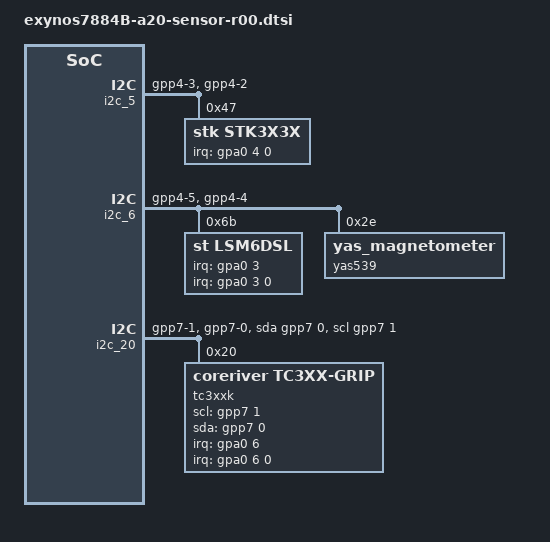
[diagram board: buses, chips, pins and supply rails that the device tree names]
/*
 * SAMSUNG UNIVERSAL7904 board device tree source
 *
 * Copyright (c) 2013 Samsung Electronics Co., Ltd.
 *		http://www.samsung.com
 *
 * This program is free software; you can redistribute it and/or modify
 * it under the terms of the GNU General Public License version 2 as
 * published by the Free Software Foundation.
*/

&pinctrl_0 { //11CB0000
	
	acc_int: acc-int {
		samsung,pins = "gpa0-3";
		samsung,pin-function = <0xf>;
		samsung,pin-pud = <0>;
		samsung,pin-drv = <0>;
	};
	
	grip_int: grip-int {
		samsung,pins = "gpa0-6";
		samsung,pin-function = <0xf>;
		samsung,pin-pud = <0>;
		samsung,pin-drv = <0>;
	};
	
	grip_input: grip-input {
		samsung,pins = "gpa0-6";
		samsung,pin-function = <0>;
		samsung,pin-pud = <0>;
		samsung,pin-drv = <0>;
	};
	
	proxy_int: proxy-int {
		samsung,pins = "gpa0-4";
		samsung,pin-function = <0xf>;
		samsung,pin-pud = <0>;
		samsung,pin-drv = <0>;
	};

};


&pinctrl_3 { //139B0000

	grip_i2c: grip-2c {
		samsung,pins = "gpp7-1", "gpp7-0";
		samsung,pin-function = <2>;
		samsung,pin-pud = <0>;
		samsung,pin-drv = <0>;
	};
	
	grip_gpio: grip-gpio {
		samsung,pins = "gpp7-1", "gpp7-0";
		samsung,pin-function = <0>;
		samsung,pin-pud = <0>;
		samsung,pin-drv = <0>;
	};
	
	grip_ldo: grip-ldo {
		samsung,pins = "gpg1-3";
		samsung,pin-function = <1>;
		samsung,pin-pud = <0>;
		samsung,pin-drv = <0>;
	};

	i2c5_bus: i2c5-bus {
		samsung,pins = "gpp4-3", "gpp4-2";
		samsung,pin-function = <2>;
		samsung,pin-pud = <0>;
		samsung,pin-drv = <0>;
	};

	i2c6_bus: i2c6-bus {
		samsung,pins = "gpp4-5", "gpp4-4";
		samsung,pin-function = <2>;
		samsung,pin-pud = <0>;
		samsung,pin-drv = <0>;
	};
};


 &i2c_5 {
		status = "okay";
		#address-cells = <1>;
		#size-cells = <0>;
		samsung,i2c-sda-delay = <100>;
		samsung,i2c-max-bus-freq = <400000>;
		pinctrl-names = "default";
		pinctrl-0 = <&i2c5_bus>;

		stk@47 {
			compatible = "stk,stk3x3x";
			reg = <0x47>;
			pinctrl-names = "default";
			pinctrl-0 = <&proxy_int>;
			interrupt-parent = <&gpa0>;
			interrupts = <4 0 0>;
			stk,gpio_int = <&gpa0 4 0>;
			stk,prox_thd_h = <240>;
			stk,prox_thd_l = <220>;
			stk,sunlight_thd_h = <240>;
			stk,sunlight_thd_l = <220>;
			stk,first_cal_adc_limit = <200>;
			stk,first_cal_thd_h = <240>;
			stk,first_cal_thd_l = <220>;
			stk,intel_prst = <0>;
			stk,ps_it = <0x04>;
		};
 };

 &i2c_6 {

		status = "okay";
		#address-cells = <1>;
		#size-cells = <0>;
		samsung,i2c-sda-delay = <100>;
		samsung,i2c-max-bus-freq = <400000>;
		pinctrl-names = "default";
		pinctrl-0 = <&i2c6_bus>;

		lsm6dsl@6b {
			compatible = "st,lsm6dsl";
			reg = <0x6b>;
			gpio-controller;
			#gpio-cells = <2>;
			pinctrl-names = "default";
			pinctrl-0 = <&acc_int>;
			interrupt-parent = <&gpa0>;
			interrupts = <3 0 0>;
			st,irq_gpio = <&gpa0 3 0>;
			st,orientation = <0 1 1 1 2 1 1 1 0>;
		};

		yas539@2e {
			compatible = "yas_magnetometer";
			reg = <0x2e>;
			yas,orientation = <2>;
			yas,softiron = <9730 490 100 490 9990 10 100 10 10290>;
			yas,softiron_sign = <2 2 2 2 2 2 2 2 2>;
		};
 };

 &i2c_20 {
		compatible = "i2c-gpio"; 
		gpios = <&gpp7 0 0 
				&gpp7 1 0>; 
		pinctrl-names = "default","on_i2c","off_i2c"; 
		pinctrl-0 = <&grip_i2c>; 
		pinctrl-1 = <&grip_i2c>; 
		pinctrl-2 = <&grip_gpio>; 

		tc3xxk@20 {
			compatible = "coreriver,tc3xx-grip";
			pinctrl-names = "default","on_irq","off_irq";
			pinctrl-0 = <&grip_int &grip_ldo>;
			pinctrl-1 = <&grip_int>; 
			pinctrl-2 = <&grip_input>; 
			reg = <0x20>;
			interrupt-parent = <&gpa0>;
			interrupts = <6 0 0>;
			coreriver,scl-gpio = <&gpp7 1 0>;
			coreriver,sda-gpio = <&gpp7 0 0>;
			coreriver,irq-gpio = <&gpa0 6 0>;
			coreriver,ldo_en = <&gpg1 3 0>;
			coreriver,i2c-gpio = "true";
			coreriver,boot-on-ldo = "true";
			coreriver,fw_name = "coreriver/tc305k_a20_grip.fw";     
			coreriver,use_bitmap = <1>;
		};
 };
